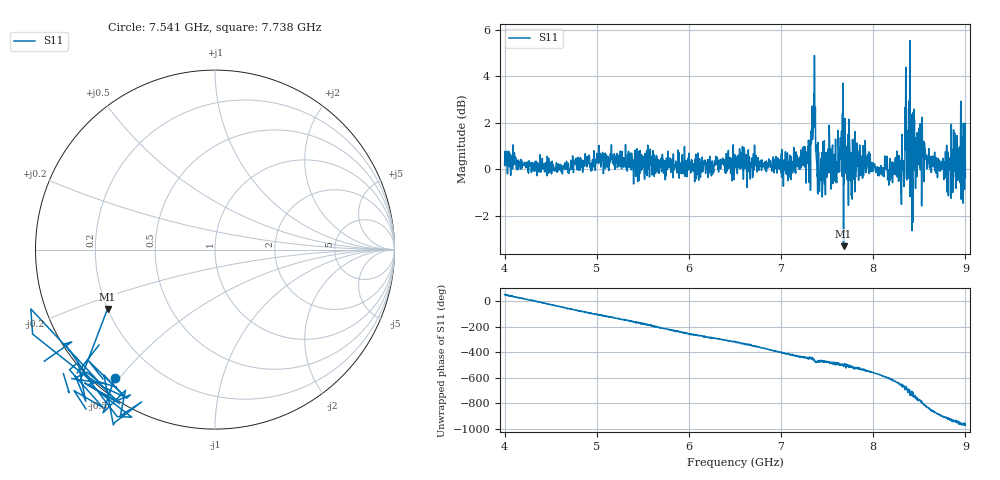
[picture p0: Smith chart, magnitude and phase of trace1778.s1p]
! Created with skrf 1.8.0 (http://scikit-rf.org).
# Hz S RI R 50.0
!freq ReS11 ImS11
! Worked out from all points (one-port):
!   1601 points, 4 GHz to 9 GHz, reference 50 ohm
!   lowest |S11| = -3.3 dB at 7.678 GHz (marker M1), VSWR 5.33, Z = 9.98 - j12.4 ohm
!   |S11| at or under -10 dB: nowhere
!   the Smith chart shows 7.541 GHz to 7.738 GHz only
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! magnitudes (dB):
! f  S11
! 4 GHz  0.2
! 4.625 GHz  -0.2
! 5.25 GHz  0.1
! 5.875 GHz  0.1
! 6.5 GHz  0.5
! 7.125 GHz  -0.1
! 7.294 GHz  0.3
! 7.328 GHz  1.1
! 7.347 GHz  1.7
! 7.412 GHz  -0.6
! 7.509 GHz  0.4
! 7.588 GHz  -0.5
! 7.647 GHz  1.1
! 7.678 GHz  -3.3
! 7.75 GHz  -0.5
! 7.775 GHz  1.3
! 7.8 GHz  -1.0
! 7.928 GHz  0.4
! 8.316 GHz  0.1
! 8.334 GHz  -0.7
! 8.375 GHz  0.7
! 8.425 GHz  -1.6
! 8.447 GHz  2.1
! 8.459 GHz  -0.8
! 8.497 GHz  1.8
! 8.756 GHz  0.2
! 8.972 GHz  0.8
! 9 GHz  -0.4
